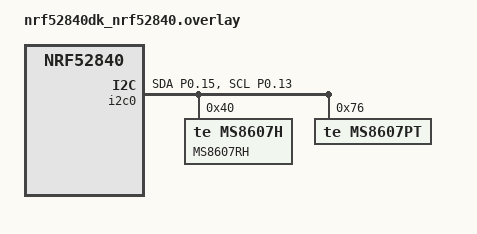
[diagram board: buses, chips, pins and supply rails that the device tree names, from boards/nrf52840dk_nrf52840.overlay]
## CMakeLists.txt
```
cmake_minimum_required(VERSION 3.13.1)
find_package(Zephyr REQUIRED HINTS $ENV{ZEPHYR_BASE})

project(app LANGUAGES C VERSION 1.0.0)

configure_file(app_version.h.in ${CMAKE_BINARY_DIR}/app/include/app_version.h)
target_include_directories(app PRIVATE ${CMAKE_BINARY_DIR}/app/include src)

target_sources(app PRIVATE src/main.c)
```

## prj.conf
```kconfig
CONFIG_SENSOR=y
CONFIG_MS8607=y
CONFIG_I2C=y
CONFIG_CBPRINTF_FP_SUPPORT=y
```

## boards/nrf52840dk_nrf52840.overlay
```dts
/* This devicetree overlay file will be automatically picked by the Zephyr
 * build system when building the application for the nrf52840dk_nrf52840 board. 
 * Do not forget to update SCL and SDA values if the HW conections is modified!
 */

 &pinctrl {
	i2c0_default_alt: i2c0_default_alt {
		group1 {
			psels = <NRF_PSEL(TWIM_SDA, 0, 15)>,
				<NRF_PSEL(TWIM_SCL, 0, 13)>;
		};
	};

	i2c0_sleep_alt: i2c0_sleep_alt {
		group1 {
			psels = <NRF_PSEL(TWIM_SDA, 0, 15)>,
				<NRF_PSEL(TWIM_SCL, 0, 13)>;
		};
	};
};

&i2c0 {
	status = "okay";
	pinctrl-0 = <&i2c0_default_alt>;
	pinctrl-1 = <&i2c0_sleep_alt>;
	ms8607_h@40 {
		compatible = "te,ms8607h";
		reg = <0x40>;
		label = "MS8607RH";
	};
	ms8607_pt@76 {
		compatible = "te,ms8607pt";
		reg = <0x76>;
		label = "MS8607PT";
	};
};
```

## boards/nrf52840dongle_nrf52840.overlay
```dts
/* This devicetree overlay file will be automatically picked by the Zephyr
 * build system when building the application for the nrf52840dongle_nrf52840 board. 
 */

&pinctrl {
	i2c0_default_alt: i2c0_default_alt {
		group1 {
			psels = <NRF_PSEL(TWIM_SDA, 0, 15)>,
				<NRF_PSEL(TWIM_SCL, 0, 13)>;
		};
	};

	i2c0_sleep_alt: i2c0_sleep_alt {
		group1 {
			psels = <NRF_PSEL(TWIM_SDA, 0, 15)>,
				<NRF_PSEL(TWIM_SCL, 0, 13)>;
		};
	};
};

&i2c0 {
	status = "okay";
	pinctrl-0 = <&i2c0_default_alt>;
	pinctrl-1 = <&i2c0_sleep_alt>;
	ms8607_h@40 {
		compatible = "te,ms8607h";
		reg = <0x40>;
		label = "MS8607RH";
	};
	ms8607_pt@76 {
		compatible = "te,ms8607pt";
		reg = <0x76>;
		label = "MS8607PT";
	};
};
```

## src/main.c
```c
#include <stdio.h>
#include <zephyr/kernel.h>
#include <zephyr/drivers/sensor.h>

#include "app_version.h"
#include <zephyr/logging/log.h>
LOG_MODULE_REGISTER(main, CONFIG_APP_LOG_LEVEL);

#include <sensor/ms8607.h>

void main(void)
{
	int ret;
	const struct device *ms8607_pt_dev;
	const struct device *ms8607_h_dev;
	struct sensor_value humidity, pressure, temperature;
	enum ms8607_battery_status bat_status;
	LOG_INF("MS8607 PHT Sensor Example Application - Version %s", APP_VERSION_STR);

	ms8607_h_dev = DEVICE_DT_GET_ONE(te_ms8607h);
	if (!device_is_ready(ms8607_h_dev)) {
		LOG_ERR("Sensor %s not ready", ms8607_h_dev->name);
		return;
	}

	ms8607_pt_dev = DEVICE_DT_GET_ONE(te_ms8607pt);
	if (!device_is_ready(ms8607_pt_dev)) {
		LOG_ERR("Sensor %s not ready", ms8607_pt_dev->name);
		return;
	}

	ret = ms8607_enable_heater(ms8607_h_dev);
	if (ret != 0) {
		LOG_ERR("Failed to enable heater");
		return;
	}

	k_sleep(K_SECONDS(1));

	ret = ms8607_disable_heater(ms8607_h_dev);
	if (ret != 0) {
		LOG_ERR("Failed to disable heater");
		return;
	}

	ret = ms8607_get_battery_status(ms8607_h_dev, &bat_status);
	if (ret != 0) {
		LOG_ERR("Failed to get battery status");
		return;
	}

	LOG_INF("Battery status %s", bat_status == ms8607_battery_ok ? "Okay" : "Not Okay");

	while (1) {
		ret = sensor_sample_fetch(ms8607_pt_dev);
		if (ret < 0) {
			LOG_ERR("Could not fetch sample (%d)", ret);
			return;
		}

		ret = sensor_sample_fetch(ms8607_h_dev);
		if (ret < 0) {
			LOG_ERR("Could not fetch sample (%d)", ret);
			return;
		}

		sensor_channel_get(ms8607_pt_dev, SENSOR_CHAN_AMBIENT_TEMP, &temperature);
		sensor_channel_get(ms8607_pt_dev, SENSOR_CHAN_PRESS, &pressure);
		sensor_channel_get(ms8607_h_dev, SENSOR_CHAN_HUMIDITY, &humidity);
		printf("MS8607: %.2f Temp ; %0.2f RH ; %0.2f Pressure \n",
		       sensor_value_to_double(&temperature),
		       sensor_value_to_double(&humidity),
		       sensor_value_to_double(&pressure));
		k_sleep(K_MSEC(1000));
	}
}
```
